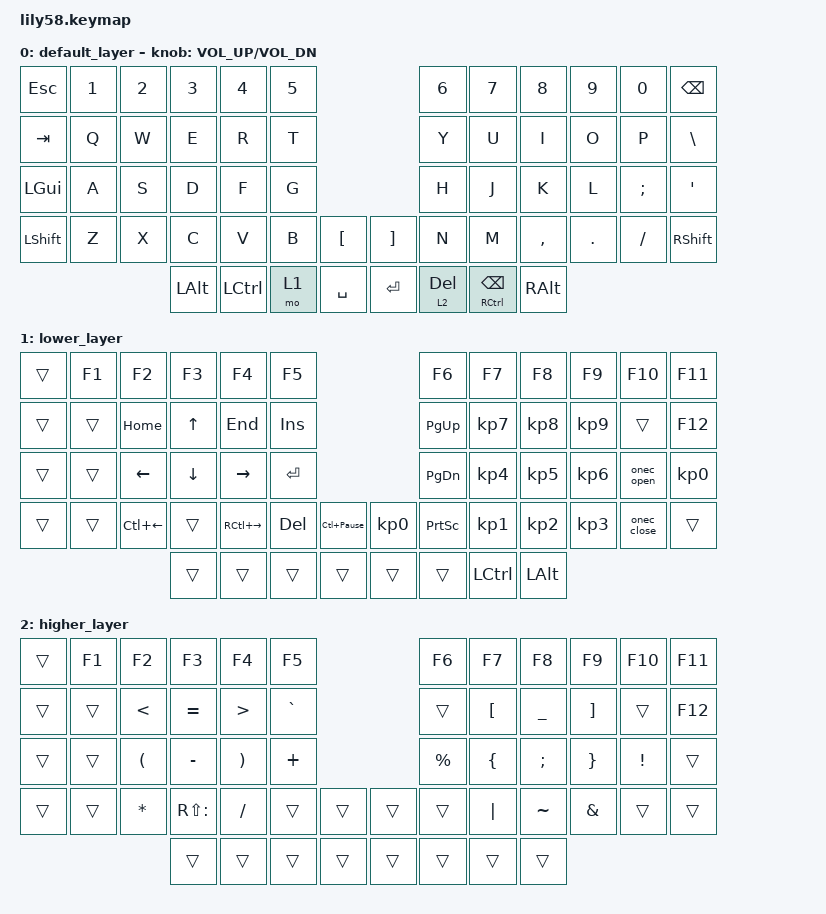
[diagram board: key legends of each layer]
/*
 * Copyright (c) 2020 The ZMK Contributors
 *
 * SPDX-License-Identifier: MIT
 */

#include <behaviors.dtsi>
#include <dt-bindings/zmk/keys.h>

/ {
    combos {
        compatible = "zmk,combos";

        combo_f12 {
            bindings = <&kp F12>;
            key-positions = <0 1>;
        };
    };

    behaviors {
        ss_hs_modmorph: ss_hs_modmorph {
            compatible = "zmk,behavior-mod-morph";
            label = "SS_HS_MODMORPH";
            bindings = <&kp M>, <&kp RIGHT_BRACKET>;

            #binding-cells = <0>;
            mods = <(MOD_LSFT|MOD_RSFT)>;
        };

        kh_hs_tapdance: kh_hs_tapdance {
            compatible = "zmk,behavior-tap-dance";
            label = "KH_HS_TAPDANCE";
            #binding-cells = <0>;
            tapping-term-ms = <200>;
            bindings = <&kp LEFT_BRACKET>, <&kp RIGHT_BRACKET>;
        };

        hrm: hrm {
            compatible = "zmk,behavior-hold-tap";
            #binding-cells = <2>;
            flavor = "tap-preferred";
            tapping-term-ms = <200>;
            quick-tap-ms = <200>;
            require-prior-idle-ms = <125>;
            bindings = <&kp>, <&kp>;
        };
    };

    macros {
        onec_open: onec_open {
            compatible = "zmk,behavior-macro";
            #binding-cells = <0>;
            bindings = <&none &kp FSLH &kp FSLH &kp SPACE &kp PLUS &kp PLUS &kp PLUS &kp M &kp UNDER &kp B &kp E &kp L &kp O &kp G &kp L &kp A &kp Z &kp O &kp V &kp SPACE &kp FSLH &kp SPACE &kp SPACE &kp FSLH &kp SPACE>;
            label = "ONEC_OPEN";
        };

        onec_close: onec_close {
            compatible = "zmk,behavior-macro";
            #binding-cells = <0>;
            bindings = <&none &kp FSLH &kp FSLH &kp SPACE &kp MINUS &kp MINUS &kp PLUS &kp M &kp UNDER &kp B &kp E &kp L &kp O &kp G &kp L &kp A &kp Z &kp O &kp V &kp SPACE &kp FSLH &kp SPACE &kp SPACE &kp FSLH &kp SPACE>;
            label = "ONEC_CLOSE";
        };
    };

    keymap {
        compatible = "zmk,keymap";

        default_layer {
            // ------------------------------------------------------------------------------------------------------------
            // |  ESC  |  1  |  2  |  3   |  4   |  5   |                   |  6   |  7    |  8    |  9   |   0   |   `   |
            // |  TAB  |  Q  |  W  |  E   |  R   |  T   |                   |  Y   |  U    |  I    |  O   |   P   |   -   |
            // |  CTRL |  A  |  S  |  D   |  F   |  G   |                   |  H   |  J    |  K    |  L   |   ;   |   '   |
            // | SHIFT |  Z  |  X  |  C   |  V   |  B   |   "["  |  |  "]"  |  N   |  M    |  ,    |  .   |   /   | SHIFT |
            //                     | ALT  | GUI  | LOWER|  SPACE |  | ENTER | RAISE| BSPC  | GUI   |

            bindings = <
&kp ESCAPE    &kp NUMBER_1  &kp NUMBER_2  &kp NUMBER_3  &kp NUMBER_4  &kp N5                         &kp NUMBER_6  &kp N7               &kp N8         &kp N9   &kp N0    &kp BACKSPACE
&kp TAB       &kp Q         &kp W         &kp E         &kp R         &kp T                          &kp Y         &kp U                &kp I          &kp O    &kp P     &kp BACKSLASH
&kp LEFT_GUI  &kp A         &kp S         &kp D         &kp F         &kp G                          &kp H         &kp J                &kp K          &kp L    &kp SEMI  &kp SQT
&kp LSHFT     &kp Z         &kp X         &kp C         &kp V         &kp B   &kp LBKT     &kp RBKT  &kp N         &kp M                &kp COMMA      &kp DOT  &kp FSLH  &kp RIGHT_SHIFT
                                          &kp LEFT_ALT  &kp LCTRL     &mo 1   &kp SPACE    &kp RET   &lt 2 DELETE  &mt RCTRL BACKSPACE  &kp RIGHT_ALT
            >;

            sensor-bindings = <&inc_dec_kp C_VOL_UP C_VOL_DN>;
        };

        lower_layer {
            bindings = <
&trans  &kp F1  &kp F2              &kp F3          &kp F4         &kp F5                                              &kp F6           &kp F7           &kp F8           &kp F9           &kp F10      &kp F11
&trans  &trans  &kp HOME            &kp UP_ARROW    &kp END        &kp INSERT                                          &kp PAGE_UP      &kp KP_NUMBER_7  &kp KP_NUMBER_8  &kp KP_NUMBER_9  &trans       &kp F12
&trans  &trans  &kp LEFT_ARROW      &kp DOWN_ARROW  &kp RIGHT      &kp ENTER                                           &kp PAGE_DOWN    &kp KP_NUMBER_4  &kp KP_NUMBER_5  &kp KP_NUMBER_6  &onec_open   &kp KP_NUMBER_0
&trans  &trans  &kp LC(LEFT_ARROW)  &trans          &kp RC(RIGHT)  &kp DEL     &kp LC(PAUSE_BREAK)    &kp KP_NUMBER_0  &kp PRINTSCREEN  &kp KP_NUMBER_1  &kp KP_NUMBER_2  &kp KP_NUMBER_3  &onec_close  &trans
                                    &trans          &trans         &trans      &trans                 &trans           &trans           &kp LCTRL        &kp LEFT_ALT
            >;
        };

        higher_layer {
            bindings = <
&trans  &kp F1  &kp F2                &kp F3         &kp F4                 &kp F5                       &kp F6       &kp F7            &kp F8          &kp F9             &kp F10          &kp F11
&trans  &trans  &kp LESS_THAN         &kp EQUAL      &kp GREATER_THAN       &kp GRAVE                    &trans       &kp LEFT_BRACKET  &kp UNDERSCORE  &kp RIGHT_BRACKET  &trans           &kp F12
&trans  &trans  &kp LEFT_PARENTHESIS  &kp MINUS      &kp RIGHT_PARENTHESIS  &kp PLUS                     &kp PERCENT  &kp LEFT_BRACE    &kp SEMICOLON   &kp RIGHT_BRACE    &kp EXCLAMATION  &trans
&trans  &trans  &kp ASTERISK          &kp RS(COLON)  &kp SLASH              &trans     &trans    &trans  &trans       &kp PIPE          &kp TILDE       &kp AMPERSAND      &trans           &trans
                                      &trans         &trans                 &trans     &trans    &trans  &trans       &trans            &trans
            >;
        };
    };
};
